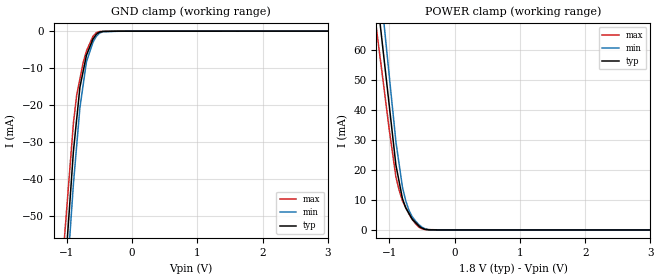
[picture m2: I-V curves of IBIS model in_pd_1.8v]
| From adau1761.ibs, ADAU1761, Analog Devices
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[Model] in_pd_1.8v
Model_type Input
Vinl = 540.000mV
Vinh = 1.26000V
C_comp 501.000fF 475.950fF 526.050fF
| variable typ   min   max
[Voltage Range] 1.80000V 1.62000V 1.98000V
[POWER Clamp Reference] 1.80000V 1.62000V 1.98000V
[GND Clamp Reference] 0.00000V 0.00000V 0.00000V
[Temperature Range]   25   85   -40
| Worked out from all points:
|   GND clamp passes 1 mA (typ) near -0.56 V on its own axis
|   POWER clamp passes 1 mA (typ) near -0.53 V on its own axis
[GND Clamp]
-1.8V     -261.3mA   -272.9mA   -228.9mA
-900mV    -32.59mA   -41.45mA   -24.95mA
-850mV    -23.87mA   -31.06mA   -17.37mA
-800mV    -15.15mA   -20.68mA   -12.93mA
-750mV    -10.84mA   -14.49mA   -8.487mA
-700mV    -6.526mA   -8.303mA   -5.366mA
-600mV    -2.139mA   -2.97mA    -1.386mA
-550mV    -873uA     -1.423mA   -435.1uA
-500mV    -263uA     -545.3uA   -91.86uA
-450mV    -57.74uA   -156.7uA   -76.07uA
-225mV    -2.654uA   -31.93uA   -12.71uA
3.6V      14.4uA     24uA       9uA
[POWER Clamp]
-1.8V     196.9mA    223.6mA    170.1mA
-1.1V     60.55mA    72.54mA    50.27mA
-1V       41.08mA    50.96mA    33.15mA
-900mV    21.6mA     29.38mA    17.68mA
-850mV    16.04mA    21.83mA    13.25mA
-800mV    10.48mA    14.28mA    9.713mA
-750mV    7.401mA    9.775mA    7.514mA
-700mV    5.518mA    6.539mA    5.316mA
-600mV    2.484mA    2.996mA    2.11mA
-500mV    602.2uA    925.3uA    373.2uA
-300mV    19.22uA    10.48uA    67.74uA
3.6V      0A         0A         0A
